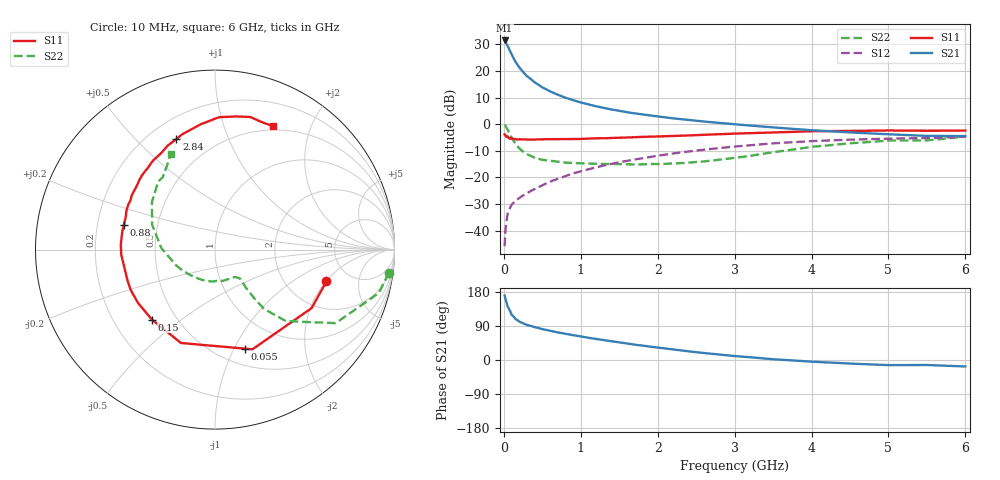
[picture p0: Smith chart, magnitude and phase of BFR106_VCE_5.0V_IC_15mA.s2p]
! Infineon Technologies  Discrete & RF Semiconductors
! BFR106
! VCE =  5.0 V,  IC =  15 mA
! Common Emitter S-Parameters:  Nov 2015
# GHz  S  MA  R  50
!  f  S11  S21  S12  S22
! GHz  MAG  ANG  MAG  ANG  MAG  ANG  MAG  ANG
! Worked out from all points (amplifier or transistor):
!   210 points, 10 MHz to 6 GHz, reference 50 ohm
!   highest |S21| = 31.5 dB at 10 MHz (marker M1)
!   |S21| within 3 dB of that: start of sweep to 65.1 MHz
!   unconditionally stable (mu >= 1): 407.5 MHz to 2.098 GHz; 5.468 GHz to 5.827 GHz
!   at 185 MHz: K = 0.68, MSG = 25.1 dB, |S12| = -28.0 dB
!   at 1.52 GHz: K = 1.06, MAG = 8.1 dB, |S12| = -14.2 dB
!   at 6 GHz: K = 1.00, MSG = 0.1 dB, |S12| = -4.7 dB
!   S11 on the Smith chart (normalised r, x): 10 MHz: 3.33, -2.02; 55 MHz: 0.67, -1.11; 150 MHz: 0.37, -0.39; 880 MHz: 0.32, +0.12; 2.84 GHz: 0.31, +0.66; 6 GHz: 0.45, +1.47
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0.01  0.6459 -15.9  37.67 170.0  0.0051 85.7  0.9774 -7.6
0.02  0.6293 -31.2  36.19 161.8  0.0098 77.7  0.9444 -14.8
0.05  0.5934 -69.4  29.7 140.3  0.0209 63.3  0.7869 -31.4
0.055  0.5772 -73.0  28.68 138.9  0.0218 61.8  0.7627 -32.4
0.1  0.5538 -110.0  20.66 119.9  0.0307 52.7  0.5598 -45.3
0.15  0.5251 -132.0  15.04 108.2  0.0362 50.9  0.4285 -50.4
0.2  0.5217 -145.1  11.78 101.5  0.041 52.1  0.3537 -51.1
0.24  0.5202 -152.5  9.994 97.4  0.0449 53.5  0.3129 -51.1
0.3  0.5168 -160.8  8.062 92.5  0.0507 55.9  0.2743 -51.0
0.4  0.5155 -170.6  6.149 86.7  0.0605 59.6  0.2354 -49.7
0.5  0.5232 -177.1  4.945 81.5  0.0714 61.9  0.2148 -49.1
0.6  0.5255 177.0  4.161 77.0  0.0831 63.2  0.2056 -50.0
0.7  0.5253 172.2  3.597 72.8  0.0942 64.2  0.1977 -51.7
0.88  0.5258 165.0  2.898 66.3  0.1165 64.7  0.1874 -54.8
1.02  0.5313 159.2  2.526 61.4  0.133 64.6  0.1845 -59.0
1.4  0.5534 146.9  1.893 49.5  0.1799 62.5  0.1795 -72.9
2.02  0.5894 129.4  1.388 32.2  0.2585 56.0  0.1789 -103.3
2.84  0.6524 109.2  1.049 13.6  0.3616 44.9  0.2191 -150.3
3.1  0.6734 103.9  0.972 8.9  0.3917 40.9  0.2433 -163.7
4.1  0.7399 86.7  0.758 -5.4  0.488 24.7  0.3867 155.0
5.1  0.7621 73.9  0.639 -13.4  0.5392 10.3  0.4941 129.1
6  0.7601 65.0  0.599 -17.1  0.5839 -0.5  0.5863 114.7
